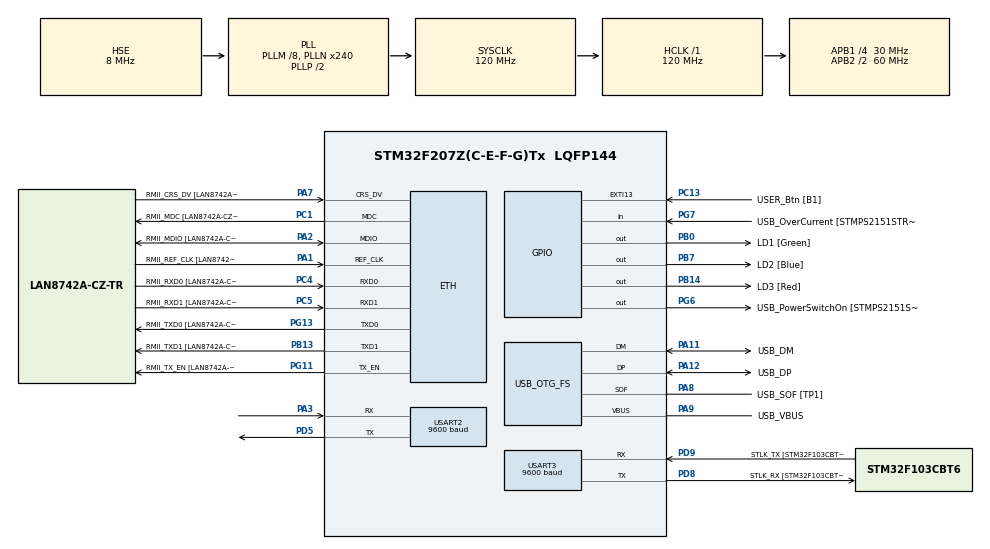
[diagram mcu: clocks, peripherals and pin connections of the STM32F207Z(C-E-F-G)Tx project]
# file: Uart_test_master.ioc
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ETH.MediaInterface=ETH_MEDIA_INTERFACE_RMII
ETH.PHY_Name=LAN8742A_PHY_ADDRESS
ETH.PHY_Value=0
ETH.PhyAddress=0
Mcu.Family=STM32F2
Mcu.Name=STM32F207Z(C-E-F-G)Tx
Mcu.Package=LQFP144
NVIC.PriorityGroup=NVIC_PRIORITYGROUP_4
NVIC.USART2_IRQn=true\:0\:0\:false\:false\:true\:true\:true\:true
NVIC.USART3_IRQn=true\:0\:0\:false\:false\:true\:true\:true\:true
PA1.GPIO_Label=RMII_REF_CLK [LAN8742A-CZ-TR_REFCLK0]
PA1.Mode=RMII
PA1.Signal=ETH_REF_CLK
PA10.GPIO_Label=USB_ID
PA10.Signal=USB_OTG_FS_ID
PA11.GPIO_Label=USB_DM
PA11.Mode=Device_Only
PA11.Signal=USB_OTG_FS_DM
PA12.GPIO_Label=USB_DP
PA12.Mode=Device_Only
PA12.Signal=USB_OTG_FS_DP
PA13.GPIO_Label=TMS
PA13.Mode=Serial_Wire
PA13.Signal=SYS_JTMS-SWDIO
PA14.GPIO_Label=TCK
PA14.Mode=Serial_Wire
PA14.Signal=SYS_JTCK-SWCLK
PA2.GPIO_Label=RMII_MDIO [LAN8742A-CZ-TR_MDIO]
PA2.Mode=RMII
PA2.Signal=ETH_MDIO
PA3.Mode=Asynchronous
PA3.Signal=USART2_RX
PA7.GPIO_Label=RMII_CRS_DV [LAN8742A-CZ-TR_CRS_DV]
PA7.Mode=RMII
PA7.Signal=ETH_CRS_DV
PA8.GPIO_Label=USB_SOF [TP1]
PA8.Mode=Activate_SOF_FS
PA8.Signal=USB_OTG_FS_SOF
PA9.GPIO_Label=USB_VBUS
PA9.Mode=Activate_VBUS
PA9.Signal=USB_OTG_FS_VBUS
PB0.GPIO_Label=LD1 [Green]
PB0.Signal=GPIO_Output
PB13.GPIO_Label=RMII_TXD1 [LAN8742A-CZ-TR_TXD1]
PB13.Mode=RMII
PB13.Signal=ETH_TXD1
PB14.GPIO_Label=LD3 [Red]
PB14.Signal=GPIO_Output
PB3.GPIO_Label=SWO
PB3.Signal=SYS_JTDO-SWO
PB7.GPIO_Label=LD2 [Blue]
PB7.Signal=GPIO_Output
PC1.GPIO_Label=RMII_MDC [LAN8742A-CZ-TR_MDC]
PC1.Mode=RMII
PC1.Signal=ETH_MDC
PC13.GPIO_Label=USER_Btn [B1]
PC13.Signal=GPXTI13
PC14-OSC32_IN.Signal=RCC_OSC32_IN
PC15-OSC32_OUT.Signal=RCC_OSC32_OUT
PC4.GPIO_Label=RMII_RXD0 [LAN8742A-CZ-TR_RXD0]
PC4.Mode=RMII
PC4.Signal=ETH_RXD0
PC5.GPIO_Label=RMII_RXD1 [LAN8742A-CZ-TR_RXD1]
PC5.Mode=RMII
PC5.Signal=ETH_RXD1
PD5.Mode=Asynchronous
PD5.Signal=USART2_TX
PD8.GPIO_Label=STLK_RX [STM32F103CBT6_PA2]
PD8.Mode=Asynchronous
PD8.Signal=USART3_TX
PD9.GPIO_Label=STLK_TX [STM32F103CBT6_PA3]
PD9.Mode=Asynchronous
PD9.Signal=USART3_RX
PG11.GPIO_Label=RMII_TX_EN [LAN8742A-CZ-TR_TXEN]
PG11.Mode=RMII
PG11.Signal=ETH_TX_EN
PG13.GPIO_Label=RMII_TXD0 [LAN8742A-CZ-TR_TXD0]
PG13.Mode=RMII
PG13.Signal=ETH_TXD0
PG6.GPIO_Label=USB_PowerSwitchOn [STMPS2151STR_EN]
PG6.Signal=GPIO_Output
PG7.GPIO_Label=USB_OverCurrent [STMPS2151STR_FAULT]
PG7.Signal=GPIO_Input
PH0-OSC_IN.GPIO_Label=MCO [STM32F103CBT6_PA8]
PH0-OSC_IN.Mode=HSE-External-Oscillator
PH0-OSC_IN.Signal=RCC_OSC_IN
PH1-OSC_OUT.Mode=HSE-External-Oscillator
PH1-OSC_OUT.Signal=RCC_OSC_OUT
ProjectManager.HeapSize=0x200
ProjectManager.StackSize=0x400
ProjectManager.TargetToolchain=STM32CubeIDE
RCC.48MHZClocksFreq_Value=48000000
RCC.AHBFreq_Value=120000000
RCC.APB1CLKDivider=RCC_HCLK_DIV4
RCC.APB1Freq_Value=30000000
RCC.APB1TimFreq_Value=60000000
RCC.APB2CLKDivider=RCC_HCLK_DIV2
RCC.APB2Freq_Value=60000000
RCC.APB2TimFreq_Value=120000000
RCC.CortexFreq_Value=120000000
RCC.HCLKFreq_Value=120000000
RCC.HSE_VALUE=8000000
RCC.HSI_VALUE=16000000
RCC.PLLM=8
RCC.PLLMUL=RCC_PLL_MUL9
RCC.PLLN=240
RCC.PLLQ=5
RCC.PLLSourceVirtual=RCC_PLLSOURCE_HSE
RCC.PRESCALERUSB=RCC_USBCLKSOURCE_PLL_DIV1_5
RCC.SYSCLKFreq_VALUE=120000000
RCC.SYSCLKSource=RCC_SYSCLKSOURCE_PLLCLK
RCC.SYSCLKSourceVirtual=RCC_SYSCLKSOURCE_PLLCLK
RCC.USBFreq_Value=48000000
RCC.VCOOutputFreq_Value=240000000
USART2.BaudRate=9600
USART2.VirtualMode=VM_ASYNC
USART3.BaudRate=9600
USART3.VirtualMode=VM_ASYNC
USB_OTG_FS.VirtualMode=Device_Only
board=NUCLEO-F207ZG

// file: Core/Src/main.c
/* USER CODE BEGIN Header */
/**
  ******************************************************************************
  * @file           : main.c
  * @brief          : Main program body
  ******************************************************************************
  * @attention
  *
  * Copyright (c) 2024 STMicroelectronics.
  * All rights reserved.
  *
  * This software is licensed under terms that can be found in the LICENSE file
  * in the root directory of this software component.
  * If no LICENSE file comes with this software, it is provided AS-IS.
  *
  ******************************************************************************
  */
/* USER CODE END Header */
#include "main.h"

/* USER CODE BEGIN PM */
uint16_t Holding_Registers_Database[4]={
		0000, //device address
		1111, // Baud rate
		2222, // Temperature calibration Value
		3333  // Humidity Calibration Value
};

uint16_t Input_Registers_Database[3]={
		0000, // Temperature value
		0000,
		0000// Humidity Value
};

uint8_t RxData[256];
uint8_t TxData[256];
uint8_t crc=0X55;
/* USER CODE END PM */

ETH_HandleTypeDef heth;

UART_HandleTypeDef huart2;
UART_HandleTypeDef huart3;
TIM_HandleTypeDef htim6;

PCD_HandleTypeDef hpcd_USB_OTG_FS;

void SystemClock_Config(void);
static void MX_GPIO_Init(void);
static void MX_ETH_Init(void);
static void MX_USART3_UART_Init(void);
static void MX_USB_OTG_FS_PCD_Init(void);
static void MX_USART2_UART_Init(void);
static void MX_TIM6_Init(void);

/* USER CODE BEGIN PFP */
uint8_t counter;
/* USER CODE END PFP */

void sendData (uint8_t *data, int size)
{

	data[size] = crc;   // CRC LOW

	HAL_UART_Transmit_IT(&huart3, data, size+1);
}

void modbusException (uint8_t exceptioncode)
{
	//| SLAVE_ID | FUNCTION_CODE | Exception code | CRC     |
	//| 1 BYTE   |  1 BYTE       |    1 BYTE      | 2 BYTES |

	TxData[0] = RxData[0];       // slave ID
	TxData[1] = RxData[1]|0x80;  // adding 1 to the MSB of the function code
	TxData[2] = exceptioncode;   // Load the Exception code
	sendData(TxData, 3);         // send Data... CRC will be calculated in the function
}

uint8_t readHoldingRegs (void)
{
	uint8_t startAddr = (RxData[2]);  // start Register Address

	uint8_t numRegs = (RxData[3]);   // number to registers master has requested
	if ((numRegs<1)||(numRegs>125))  // maximum no. of Registers as per the PDF
	{
		modbusException (0X00);  // send an exception
		return 0;
	}

	uint8_t endAddr = startAddr+numRegs-1;  // end Register
	if (endAddr>3)
	{
		modbusException(0X00);   // send an exception
		return 0;
	}

	// Prepare TxData buffer

	//| SLAVE_ID | FUNCTION_CODE | BYTE COUNT | DATA      | CRC     |
	//| 1 BYTE   |  1 BYTE       |  1 BYTE    | N*2 BYTES | 2 BYTES |

	TxData[0] = (uint8_t)(Holding_Registers_Database[0] & 0XFF);  // slave ID
	TxData[1] = RxData[1];  // function code
	TxData[2] = numRegs*2;  // Byte count
	int indx = 3;  // we need to keep track of how many bytes has been stored in TxData Buffer

	for (int i=0; i<numRegs; i++)   // Load the actual data into TxData buffer
	{
		TxData[indx++] = (Holding_Registers_Database[startAddr]>>8)&0xFF;  // extract the higher byte
		TxData[indx++] = (Holding_Registers_Database[startAddr])&0xFF;   // extract the lower byte
		startAddr++;  // increment the register address
	}

	sendData(TxData, indx);  // send data... CRC will be calculated in the function itself
	return 1;   // success
}

uint8_t readInputRegs (void)
{
	uint8_t startAddr = (RxData[2]);  // start Register Address

	uint8_t numRegs = (RxData[3]);   // number to registers master has requested
	if ((numRegs<1)||(numRegs>125))  // maximum no. of Registers as per the PDF
	{
		modbusException (0X00);  // send an exception
		return 0;
	}

	uint16_t endAddr = startAddr+numRegs-1;  // end Register
	if (endAddr>2)
	{
		modbusException(0X00);   // send an exception
		return 0;
	}

	// Prepare TxData buffer

	//| SLAVE_ID | FUNCTION_CODE | BYTE COUNT | DATA      | CRC     |
	//| 1 BYTE   |  1 BYTE       |  1 BYTE    | N*2 BYTES | 2 BYTES |

	TxData[0] = (uint8_t) (Holding_Registers_Database[0] & 0XFF);  // slave ID
	TxData[1] = RxData[1];  // function code
	TxData[2] = numRegs*2;  // Byte count
	int indx = 3;  // we need to keep track of how many bytes has been stored in TxData Buffer

	for (int i=0; i<numRegs; i++)   // Load the actual data into TxData buffer
	{
		TxData[indx++] = (Input_Registers_Database[startAddr]>>8)&0xFF;  // extract the higher byte
		TxData[indx++] = (Input_Registers_Database[startAddr])&0xFF;   // extract the lower byte
		startAddr++;  // increment the register address
	}

	sendData(TxData, indx);  // send data... CRC will be calculated in the function itself
	return 1;   // success
}

uint8_t writeHoldingRegs (void)
{
	uint8_t startAddr = (RxData[2]);  // start Register Address

		if (startAddr>3)  // The Register Address can not be more than 3 as we only have record of 4 Registers in total
		{
			modbusException(0X00);   // send an exception
			return 0;
		}

		uint8_t old_Device_id = (uint8_t) (Holding_Registers_Database[0] & 0XFF);

		Holding_Registers_Database[startAddr] = (uint16_t)((RxData[4])& 0X00FF);

		uint8_t new_Device_id = (uint8_t) (Holding_Registers_Database[0] & 0XFF);

		if (old_Device_id != new_Device_id)
		{
			TxData[0] = old_Device_id;
		}
		else
		{
			TxData[0] = new_Device_id;
		}

		TxData[1] = RxData[1];   // function code
		TxData[2] = RxData[2];   // Start Addr HIGH Byte
		TxData[3] = RxData[3];   // Start Addr LOW Byte
		TxData[4] = RxData[4];   // Reg Data HIGH Byte
		TxData[5] = RxData[5];   // Reg Data LOW  Byte

		sendData(TxData, 6);  // send data... CRC will be calculated in the function itself

		return 1;   // success

}

int main(void)
{

  /* MCU Configuration--------------------------------------------------------*/

  /* Reset of all peripherals, Initializes the Flash interface and the Systick. */
  HAL_Init();

  /* Configure the system clock */
  SystemClock_Config();

  /* Initialize all configured peripherals */
  MX_GPIO_Init();
  //MX_ETH_Init();
  MX_USART3_UART_Init();
  MX_USB_OTG_FS_PCD_Init();
  MX_USART2_UART_Init();
  HAL_UART_Receive_IT(&huart3, RxData, 5);

  /* Infinite loop */
  while (1)
  {

  }
}
void HAL_UART_RxCpltCallback(UART_HandleTypeDef *huart)
{
	if (huart->Instance == USART3)
	    {
	        if (RxData[0] == (uint8_t)(Holding_Registers_Database[0]&0XFF))
	        {
	            switch (RxData[1])
	            {
	                case 0x03:
	                    readHoldingRegs(); //Read the value of baud rate, calibration, and device address
	                    break;
	                case 0x04:
	                    readInputRegs(); // Read the value of temperature and humidity
	                    break;
	                case 0x06:
	                	writeHoldingRegs(); // change baud rate, calibration, and device address
	                default:
	                    // Handle unknown command or error
	                    break;
	            }
	        }
	        HAL_UART_Receive_IT(&huart3, RxData, 5);
	    }
}

void HAL_TIM_PeriodElapsedCallback(TIM_HandleTypeDef *htim)
{
    if (htim->Instance == TIM6)
    {
    	counter++;
    	Input_Registers_Database[0]++;
    	if(counter%3==0)
    		Input_Registers_Database[1]++;
    	if(counter%5==0)
    		Input_Registers_Database[2]++;

    }
}

static void MX_TIM6_Init(void)
{

  TIM_MasterConfigTypeDef sMasterConfig = {0};

  htim6.Instance = TIM6;
  htim6.Init.Prescaler = 600;
  htim6.Init.CounterMode = TIM_COUNTERMODE_UP;
  htim6.Init.Period = 10000;
  htim6.Init.AutoReloadPreload = TIM_AUTORELOAD_PRELOAD_ENABLE;
  if (HAL_TIM_Base_Init(&htim6) != HAL_OK)
  {
    Error_Handler();
  }
  sMasterConfig.MasterOutputTrigger = TIM_TRGO_RESET;
  sMasterConfig.MasterSlaveMode = TIM_MASTERSLAVEMODE_DISABLE;
  if (HAL_TIMEx_MasterConfigSynchronization(&htim6, &sMasterConfig) != HAL_OK)
  {
    Error_Handler();
  }

}

void SystemClock_Config(void)
{
  RCC_OscInitTypeDef RCC_OscInitStruct = {0};
  RCC_ClkInitTypeDef RCC_ClkInitStruct = {0};

  /** Initializes the RCC Oscillators according to the specified parameters
  * in the RCC_OscInitTypeDef structure.
  */
  RCC_OscInitStruct.OscillatorType = RCC_OSCILLATORTYPE_HSE;
  RCC_OscInitStruct.HSEState = RCC_HSE_ON;
  RCC_OscInitStruct.PLL.PLLState = RCC_PLL_ON;
  RCC_OscInitStruct.PLL.PLLSource = RCC_PLLSOURCE_HSE;
  RCC_OscInitStruct.PLL.PLLM = 8;
  RCC_OscInitStruct.PLL.PLLN = 240;
  RCC_OscInitStruct.PLL.PLLP = RCC_PLLP_DIV2;
  RCC_OscInitStruct.PLL.PLLQ = 5;
  if (HAL_RCC_OscConfig(&RCC_OscInitStruct) != HAL_OK)
  {
    Error_Handler();
  }

  /** Initializes the CPU, AHB and APB buses clocks
  */
  RCC_ClkInitStruct.ClockType = RCC_CLOCKTYPE_HCLK|RCC_CLOCKTYPE_SYSCLK
                              |RCC_CLOCKTYPE_PCLK1|RCC_CLOCKTYPE_PCLK2;
  RCC_ClkInitStruct.SYSCLKSource = RCC_SYSCLKSOURCE_PLLCLK;
  RCC_ClkInitStruct.AHBCLKDivider = RCC_SYSCLK_DIV1;
  RCC_ClkInitStruct.APB1CLKDivider = RCC_HCLK_DIV4;
  RCC_ClkInitStruct.APB2CLKDivider = RCC_HCLK_DIV2;

  if (HAL_RCC_ClockConfig(&RCC_ClkInitStruct, FLASH_LATENCY_3) != HAL_OK)
  {
    Error_Handler();
  }
}

static void MX_ETH_Init(void)
{

   static uint8_t MACAddr[6];

  heth.Instance = ETH;
  heth.Init.AutoNegotiation = ETH_AUTONEGOTIATION_ENABLE;
  heth.Init.Speed = ETH_SPEED_100M;
  heth.Init.DuplexMode = ETH_MODE_FULLDUPLEX;
  heth.Init.PhyAddress = LAN8742A_PHY_ADDRESS;
  MACAddr[0] = 0x00;
  MACAddr[1] = 0x80;
  MACAddr[2] = 0xE1;
  MACAddr[3] = 0x00;
  MACAddr[4] = 0x00;
  MACAddr[5] = 0x00;
  heth.Init.MACAddr = &MACAddr[0];
  heth.Init.RxMode = ETH_RXPOLLING_MODE;
  heth.Init.ChecksumMode = ETH_CHECKSUM_BY_HARDWARE;
  heth.Init.MediaInterface = ETH_MEDIA_INTERFACE_RMII;

  if (HAL_ETH_Init(&heth) != HAL_OK)
  {
    Error_Handler();
  }

}

static void MX_USART2_UART_Init(void)
{

  huart2.Instance = USART2;
  huart2.Init.BaudRate = 9600;
  huart2.Init.WordLength = UART_WORDLENGTH_8B;
  huart2.Init.StopBits = UART_STOPBITS_1;
  huart2.Init.Parity = UART_PARITY_NONE;
  huart2.Init.Mode = UART_MODE_TX_RX;
  huart2.Init.HwFlowCtl = UART_HWCONTROL_NONE;
  huart2.Init.OverSampling = UART_OVERSAMPLING_16;
  if (HAL_UART_Init(&huart2) != HAL_OK)
  {
    Error_Handler();
  }

}

static void MX_USART3_UART_Init(void)
{

  huart3.Instance = USART3;
  huart3.Init.BaudRate = 9600;
  huart3.Init.WordLength = UART_WORDLENGTH_8B;
  huart3.Init.StopBits = UART_STOPBITS_1;
  huart3.Init.Parity = UART_PARITY_NONE;
  huart3.Init.Mode = UART_MODE_TX_RX;
  huart3.Init.HwFlowCtl = UART_HWCONTROL_NONE;
  huart3.Init.OverSampling = UART_OVERSAMPLING_16;
  if (HAL_UART_Init(&huart3) != HAL_OK)
  {
    Error_Handler();
  }

}

static void MX_USB_OTG_FS_PCD_Init(void)
{

  hpcd_USB_OTG_FS.Instance = USB_OTG_FS;
  hpcd_USB_OTG_FS.Init.dev_endpoints = 4;
  hpcd_USB_OTG_FS.Init.speed = PCD_SPEED_FULL;
  hpcd_USB_OTG_FS.Init.dma_enable = DISABLE;
  hpcd_USB_OTG_FS.Init.phy_itface = PCD_PHY_EMBEDDED;
  hpcd_USB_OTG_FS.Init.Sof_enable = ENABLE;
  hpcd_USB_OTG_FS.Init.low_power_enable = DISABLE;
  hpcd_USB_OTG_FS.Init.vbus_sensing_enable = ENABLE;
  hpcd_USB_OTG_FS.Init.use_dedicated_ep1 = DISABLE;
  if (HAL_PCD_Init(&hpcd_USB_OTG_FS) != HAL_OK)
  {
    Error_Handler();
  }

}

static void MX_GPIO_Init(void)
{
  GPIO_InitTypeDef GPIO_InitStruct = {0};

  /* GPIO Ports Clock Enable */
  __HAL_RCC_GPIOC_CLK_ENABLE();
  __HAL_RCC_GPIOH_CLK_ENABLE();
  __HAL_RCC_GPIOA_CLK_ENABLE();
  __HAL_RCC_GPIOB_CLK_ENABLE();
  __HAL_RCC_GPIOD_CLK_ENABLE();
  __HAL_RCC_GPIOG_CLK_ENABLE();

  /*Configure GPIO pin Output Level */
  HAL_GPIO_WritePin(GPIOB, LD1_Pin|LD3_Pin|LD2_Pin, GPIO_PIN_RESET);

  /*Configure GPIO pin Output Level */
  HAL_GPIO_WritePin(USB_PowerSwitchOn_GPIO_Port, USB_PowerSwitchOn_Pin, GPIO_PIN_RESET);

  /*Configure GPIO pin : USER_Btn_Pin */
  GPIO_InitStruct.Pin = USER_Btn_Pin;
  GPIO_InitStruct.Mode = GPIO_MODE_IT_RISING;
  GPIO_InitStruct.Pull = GPIO_NOPULL;
  HAL_GPIO_Init(USER_Btn_GPIO_Port, &GPIO_InitStruct);

  /*Configure GPIO pins : LD1_Pin LD3_Pin LD2_Pin */
  GPIO_InitStruct.Pin = LD1_Pin|LD3_Pin|LD2_Pin;
  GPIO_InitStruct.Mode = GPIO_MODE_OUTPUT_PP;
  GPIO_InitStruct.Pull = GPIO_NOPULL;
  GPIO_InitStruct.Speed = GPIO_SPEED_FREQ_LOW;
  HAL_GPIO_Init(GPIOB, &GPIO_InitStruct);

  /*Configure GPIO pin : USB_PowerSwitchOn_Pin */
  GPIO_InitStruct.Pin = USB_PowerSwitchOn_Pin;
  GPIO_InitStruct.Mode = GPIO_MODE_OUTPUT_PP;
  GPIO_InitStruct.Pull = GPIO_NOPULL;
  GPIO_InitStruct.Speed = GPIO_SPEED_FREQ_LOW;
  HAL_GPIO_Init(USB_PowerSwitchOn_GPIO_Port, &GPIO_InitStruct);

  /*Configure GPIO pin : USB_OverCurrent_Pin */
  GPIO_InitStruct.Pin = USB_OverCurrent_Pin;
  GPIO_InitStruct.Mode = GPIO_MODE_INPUT;
  GPIO_InitStruct.Pull = GPIO_NOPULL;
  HAL_GPIO_Init(USB_OverCurrent_GPIO_Port, &GPIO_InitStruct);

}

void Error_Handler(void)
{
  __disable_irq();
  while (1)
  {
  }
}
